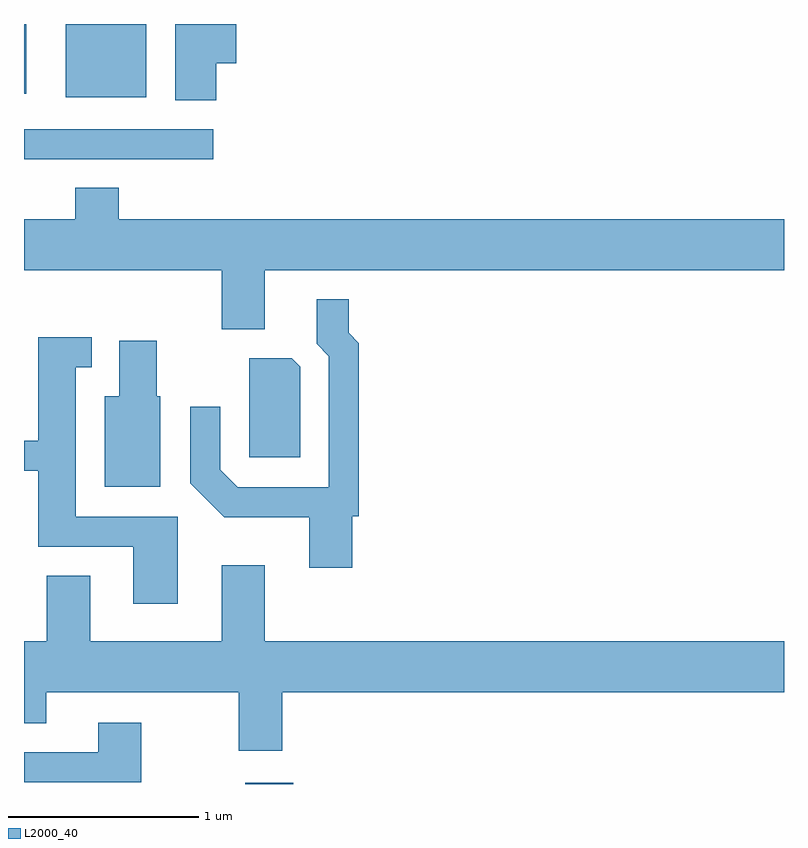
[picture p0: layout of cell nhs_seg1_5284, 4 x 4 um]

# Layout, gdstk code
import gdstk
lib = gdstk.Library(unit=1e-6, precision=1e-09)
def R(c, l, rs):  # rectangles x0, y0, x1, y1
    for r in rs: c.add(gdstk.rectangle(r[:2], r[2:], *l))
def P(c, l, *ps):  # polygons
    for p in ps: c.add(gdstk.Polygon(p, *l))
L2000_40 = (2000, 40)

nhs_seg1_5284 = lib.new_cell('nhs_seg1_5284')
R(nhs_seg1_5284, L2000_40, [(344.776,945.712,345.029,945.719), (343.611,949.001,344.608,949.159), (343.831,949.326,344.254,949.712), (343.611,949.346,343.624,949.712)])
P(nhs_seg1_5284, L2000_40, [(344.624,949.506),(344.729,949.506),(344.729,949.712),(344.406,949.712),(344.406,949.311),(344.624,949.311)],
  [(344.879,948.416),(347.611,948.416),(347.611,948.684),(344.109,948.684),(344.109,948.849),(343.881,948.849),(343.881,948.684),(343.611,948.684),(343.611,948.416),(344.651,948.416),(344.651,948.106),(344.879,948.106)],
  [(345.339,947.121),(345.374,947.121),(345.374,948.032),(345.319,948.087),(345.319,948.263),(345.151,948.263),(345.151,948.029),(345.216,947.964),(345.216,947.274),(344.737,947.274),(344.644,947.367),(344.644,947.698),(344.486,947.698),(344.486,947.294),(344.664,947.116),(345.111,947.116),(345.111,946.851),(345.339,946.851)],
  [(344.419,947.119),(343.884,947.119),(343.884,947.906),(343.968,947.906),(343.968,948.064),(343.686,948.064),(343.686,947.519),(343.611,947.519),(343.611,947.361),(343.686,947.361),(343.686,946.961),(344.186,946.961),(344.186,946.661),(344.419,946.661)],
  [(344.329,947.754),(344.309,947.754),(344.309,948.044),(344.111,948.044),(344.111,947.754),(344.036,947.754),(344.036,947.276),(344.329,947.276)],
  [(345.064,947.909),(345.019,947.954),(344.796,947.954),(344.796,947.431),(345.064,947.431)],
  [(344.969,946.196),(347.611,946.196),(347.611,946.464),(344.879,946.464),(344.879,946.864),(344.651,946.864),(344.651,946.464),(343.959,946.464),(343.959,946.809),(343.731,946.809),(343.731,946.464),(343.611,946.464),(343.611,946.031),(343.729,946.031),(343.729,946.196),(344.741,946.196),(344.741,945.886),(344.969,945.886)],
  [(344.229,946.034),(344.001,946.034),(344.001,945.879),(343.611,945.879),(343.611,945.721),(344.229,945.721)])

lib.write_gds('nhs_seg1_5284.gds')
